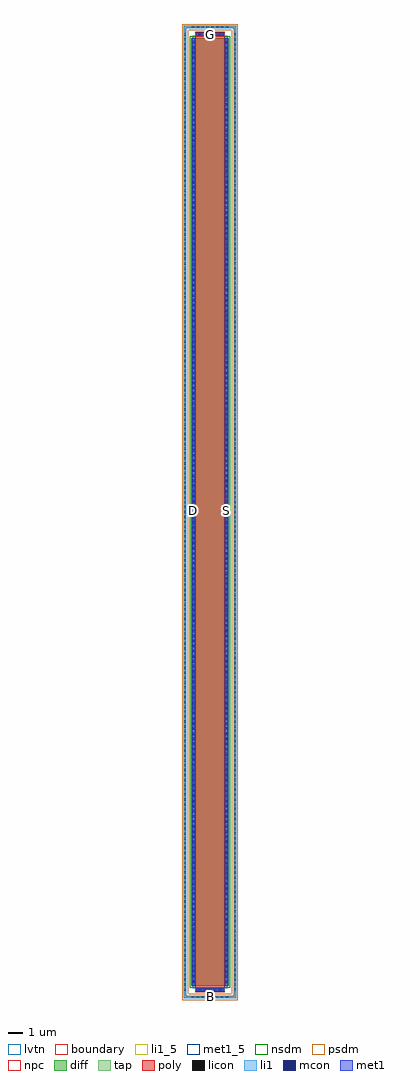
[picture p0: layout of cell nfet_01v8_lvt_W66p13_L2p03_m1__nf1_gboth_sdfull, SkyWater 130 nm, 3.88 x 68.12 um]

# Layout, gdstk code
import gdstk
lib = gdstk.Library(unit=1e-6, precision=1e-09)
def R(c, l, rs):  # rectangles x0, y0, x1, y1
    for r in rs: c.add(gdstk.rectangle(r[:2], r[2:], *l))
def A(c, l, x, y, w, h, nx, ny, dx, dy):  # array of equal rectangles
    R(c, l, [(x+i*dx, y+j*dy, x+i*dx+w, y+j*dy+h) for i in range(nx) for j in range(ny)])
diff = (65, 20)
tap = (65, 44)
poly = (66, 20)
licon = (66, 44)
li1_5 = (67, 5)
li1 = (67, 20)
mcon = (67, 44)
met1_5 = (68, 5)
met1 = (68, 20)
nsdm = (93, 44)
psdm = (94, 20)
npc = (95, 20)
lvtn = (125, 44)
boundary = (235, 4)

sky130_fd_pr__nfet_01v8_ = lib.new_cell('sky130_fd_pr__nfet_01v8_lvt_MJG2JG')
R(sky130_fd_pr__nfet_01v8_, diff, [(-1.305,-33.065,1.305,33.065)])
R(sky130_fd_pr__nfet_01v8_, tap, [(-1.815,-33.935,1.815,-33.765), (-1.815,-33.765,-1.645,33.765), (1.645,-33.765,1.815,33.765), (-1.815,33.765,1.815,33.935)])
R(sky130_fd_pr__nfet_01v8_, poly, [(-1.015,-33.505,1.015,33.505)])
A(sky130_fd_pr__nfet_01v8_, licon, -1.275, -33.935, 0.17, 0.17, 8, 2, 0.34, 67.7)
A(sky130_fd_pr__nfet_01v8_, licon, -0.935, -33.425, 0.17, 0.17, 6, 2, 0.34, 66.68)
A(sky130_fd_pr__nfet_01v8_, licon, -1.815, -33.405, 0.17, 0.17, 1, 197, 0, 0.34)
A(sky130_fd_pr__nfet_01v8_, licon, 1.645, -33.405, 0.17, 0.17, 1, 197, 0, 0.34)
A(sky130_fd_pr__nfet_01v8_, licon, -1.245, -32.895, 0.17, 0.17, 1, 194, 0, 0.34)
A(sky130_fd_pr__nfet_01v8_, licon, 1.075, -32.895, 0.17, 0.17, 1, 194, 0, 0.34)
R(sky130_fd_pr__nfet_01v8_, li1, [(-1.815,-33.935,1.815,-33.765), (-1.815,-33.765,-1.645,33.765), (1.645,-33.765,1.815,33.765), (-1.015,-33.425,1.015,-33.255), (-1.245,-33.085,-1.075,33.085), (1.075,-33.085,1.245,33.085), (-1.015,33.255,1.015,33.425), (-1.815,33.765,1.815,33.935)])
A(sky130_fd_pr__nfet_01v8_, mcon, -0.805, -33.425, 0.17, 0.17, 5, 2, 0.36, 66.68)
A(sky130_fd_pr__nfet_01v8_, mcon, -1.245, -32.845, 0.17, 0.17, 1, 183, 0, 0.36)
A(sky130_fd_pr__nfet_01v8_, mcon, 1.075, -32.845, 0.17, 0.17, 1, 183, 0, 0.36)
R(sky130_fd_pr__nfet_01v8_, met1, [(-0.995,-33.455,0.995,-33.225), (-1.275,-33.065,-1.045,33.065), (1.045,-33.065,1.275,33.065), (-0.995,33.225,0.995,33.455)])
R(sky130_fd_pr__nfet_01v8_, nsdm, [(-1.43,-33.19,1.43,33.19)])
R(sky130_fd_pr__nfet_01v8_, psdm, [(-1.94,-34.06,1.94,-33.64), (-1.94,-33.64,-1.52,33.64), (1.52,-33.64,1.94,33.64), (-1.94,33.64,1.94,34.06)])
R(sky130_fd_pr__nfet_01v8_, npc, [(-1.035,-33.525,1.035,-33.155), (-1.035,33.155,1.035,33.525)])
R(sky130_fd_pr__nfet_01v8_, lvtn, [(-1.195,-33.245,1.195,33.245)])
R(sky130_fd_pr__nfet_01v8_, boundary, [(-1.73,-33.85,1.73,33.85)])
sky130_fd_pr__nfet_01v8_.add(gdstk.Label('B', (0,-33.85), layer=67, texttype=5))
sky130_fd_pr__nfet_01v8_.add(gdstk.Label('D', (-1.16,0), layer=67, texttype=5))
sky130_fd_pr__nfet_01v8_.add(gdstk.Label('S', (1.16,0), layer=67, texttype=5))
sky130_fd_pr__nfet_01v8_.add(gdstk.Label('G', (0,33.34), layer=67, texttype=5))

nfet_01v8_lvt_w66p13_l2p = lib.new_cell('nfet_01v8_lvt_W66p13_L2p03_m1__nf1_gboth_sdfull')
R(nfet_01v8_lvt_w66p13_l2p, li1_5, [(1.645,-0.085,1.815,0.085)])
R(nfet_01v8_lvt_w66p13_l2p, li1, [(1.645,-0.085,1.815,0.085)])
R(nfet_01v8_lvt_w66p13_l2p, met1_5, [(0.455,33.85,0.685,34.05), (2.775,33.85,3.005,34.05), (0.735,67.075,2.725,67.305)])
R(nfet_01v8_lvt_w66p13_l2p, met1, [(0.455,33.85,0.685,34.05), (2.775,33.85,3.005,34.05), (0.735,67.075,2.725,67.305)])
nfet_01v8_lvt_w66p13_l2p.add(gdstk.Reference(sky130_fd_pr__nfet_01v8_, (1.73,33.85)))
nfet_01v8_lvt_w66p13_l2p.add(gdstk.Label('D', (0.57,33.95), layer=68, texttype=5))
nfet_01v8_lvt_w66p13_l2p.add(gdstk.Label('S', (2.89,33.95), layer=68, texttype=5))
nfet_01v8_lvt_w66p13_l2p.add(gdstk.Label('G', (1.73,67.19), layer=68, texttype=5))
nfet_01v8_lvt_w66p13_l2p.add(gdstk.Label('B', (1.73,0), layer=67, texttype=5))

lib.write_gds('nfet_01v8_lvt_W66p13_L2p03_m1__nf1_gboth_sdfull.gds')
